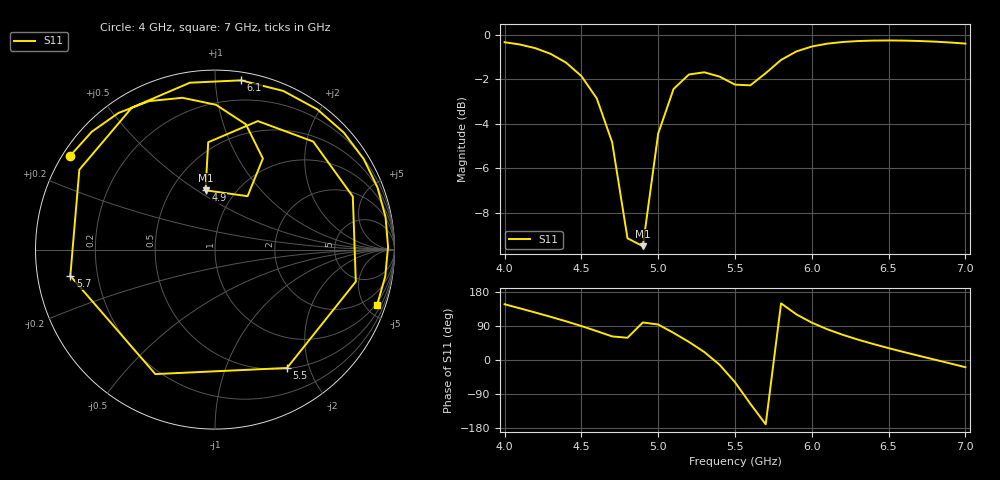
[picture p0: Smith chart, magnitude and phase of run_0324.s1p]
! Touchstone file exported from HFSS 2024.2.0
!  File:  C:/Users/wsak9/Desktop/Sim Fast/Widenad Patch/WP_AI_V1_sweep.aedt
!  Generated:  04:44:29 AM Oct 14, 2026
!  Design:  A1_model
!  Project:  WP_AI_V1_sweep
!  Setup:  Setup1
!  Solution:  Sweep
! Variables:
!  Air_gap = 4.54mm
!  Curve_Amp1 = 2.37
!  Curve_len1 = 1
!  Curve_pos = 12.01mm
!  Extra = 6.9mm
!  H_sub = 0.79mm
!  L_Patch = 20.02mm
!  L_Patch1 = 20.14mm
!  Sx = 4.58mm
!  Sy = 4.54mm
!  WS = 0.24mm
!  W_Patch = 13.18mm
!  W_Patch1 = 13.24mm
!Data is not renormalized
# GHz S MA
! Terminal data exported
! Port[1] = 1
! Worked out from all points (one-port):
!   31 points, 4 GHz to 7 GHz, reference per port
!   lowest |S11| = -9.5 dB at 4.9 GHz (marker M1), VSWR 2.01
!   |S11| at or under -10 dB: nowhere
!   S11 on the Smith chart (normalised r, x): 4 GHz: 0.02, +0.30; 4.9 GHz: 0.73, +0.54; 5.5 GHz: 0.51, -1.66; 5.7 GHz: 0.10, -0.09; 6.1 GHz: 0.06, +1.16; 7 GHz: 0.84, -5.87
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4  0.9615 147.1
4.2  0.9323 125.3
4.3  0.9051 113.9
4.4  0.865 102.1
4.5  0.8069 89.6
4.6  0.7188 76.2
4.7  0.5733 62.3
4.8  0.3486 58.6
4.9  0.3346 99.1
5  0.5994 93.6
5.1  0.7547 71.6
5.2  0.8136 47.7
5.3  0.8228 21.1
5.4  0.8045 -12.8
5.5  0.7719 -58.7
5.6  0.7691 -115.6
5.7  0.8192 -169.7
5.8  0.8772 149.5
5.9  0.9167 120.3
6  0.9403 98.6
6.1  0.9542 81.2
6.2  0.9624 66.7
6.3  0.9671 53.9
6.4  0.9695 42.2
6.5  0.9702 31.3
6.7  0.9674 10.9
6.9  0.96 -8.9
7  0.9546 -19.0
